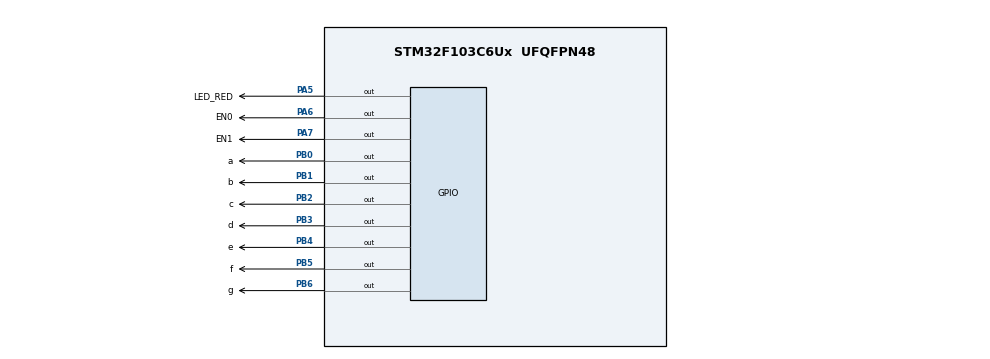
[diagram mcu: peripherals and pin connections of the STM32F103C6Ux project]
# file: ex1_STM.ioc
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Mcu.Family=STM32F1
Mcu.Name=STM32F103C6Ux
Mcu.Package=UFQFPN48
NVIC.PriorityGroup=NVIC_PRIORITYGROUP_4
NVIC.TIM2_IRQn=true\:0\:0\:false\:false\:true\:true\:true
PA5.GPIO_Label=LED_RED
PA5.Signal=GPIO_Output
PA6.GPIO_Label=EN0
PA6.Signal=GPIO_Output
PA7.GPIO_Label=EN1
PA7.Signal=GPIO_Output
PB0.GPIO_Label=a
PB0.Signal=GPIO_Output
PB1.GPIO_Label=b
PB1.Signal=GPIO_Output
PB2.GPIO_Label=c
PB2.Signal=GPIO_Output
PB3.GPIO_Label=d
PB3.Signal=GPIO_Output
PB4.GPIO_Label=e
PB4.Signal=GPIO_Output
PB5.GPIO_Label=f
PB5.Signal=GPIO_Output
PB6.GPIO_Label=g
PB6.Signal=GPIO_Output
ProjectManager.HeapSize=0x200
ProjectManager.StackSize=0x400
ProjectManager.TargetToolchain=STM32CubeIDE
RCC.APB1Freq_Value=8000000
RCC.APB2Freq_Value=8000000
TIM2.Period=9
TIM2.Prescaler=7999
VP_SYS_VS_ND.Mode=No_Debug
VP_TIM2_VS_ClockSourceINT.Mode=Internal
board=custom

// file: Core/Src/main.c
/* USER CODE BEGIN Header */
/**
  ******************************************************************************
  * @file           : main.c
  * @brief          : Main program body
  ******************************************************************************
  * @attention
  *
  * <h2><center>&copy; Copyright (c) 2022 STMicroelectronics.
  * All rights reserved.</center></h2>
  *
  * This software component is licensed by ST under BSD 3-Clause license,
  * the "License"; You may not use this file except in compliance with the
  * License. You may obtain a copy of the License at:
  *                        opensource.org/licenses/BSD-3-Clause
  *
  ******************************************************************************
  */
/* USER CODE END Header */
#include "main.h"

TIM_HandleTypeDef htim2;

void SystemClock_Config(void);
static void MX_GPIO_Init(void);
static void MX_TIM2_Init(void);

/* USER CODE BEGIN 0 */
uint8_t segmentNumber[10] = {
        0x3f,  // 0
        0x06,  // 1
        0x5b,  // 2
        0x4f,  // 3
        0x66,  // 4
        0x6d,  // 5
        0x7d,  // 6
        0x07,  // 7
        0x7f,  // 8
        0x67   // 9
};

void display7SEG(uint8_t number){
	HAL_GPIO_WritePin(a_GPIO_Port, a_Pin, ((number>>0)&0x01)^0x01);
	HAL_GPIO_WritePin(b_GPIO_Port, b_Pin, ((number>>1)&0x01)^0x01);
	HAL_GPIO_WritePin(c_GPIO_Port, c_Pin, ((number>>2)&0x01)^0x01);
	HAL_GPIO_WritePin(d_GPIO_Port, d_Pin, ((number>>3)&0x01)^0x01);
	HAL_GPIO_WritePin(e_GPIO_Port, e_Pin, ((number>>4)&0x01)^0x01);
	HAL_GPIO_WritePin(f_GPIO_Port, f_Pin, ((number>>5)&0x01)^0x01);
	HAL_GPIO_WritePin(g_GPIO_Port, g_Pin, ((number>>6)&0x01)^0x01);
}
/* USER CODE END 0 */

int main(void)
{

  /* MCU Configuration--------------------------------------------------------*/

  /* Reset of all peripherals, Initializes the Flash interface and the Systick. */
  HAL_Init();

  /* Configure the system clock */
  SystemClock_Config();

  /* Initialize all configured peripherals */
  MX_GPIO_Init();
  MX_TIM2_Init();
  /* USER CODE BEGIN 2 */
  HAL_TIM_Base_Start_IT(&htim2);
  HAL_GPIO_WritePin(EN1_GPIO_Port, EN1_Pin, SET);
  HAL_GPIO_WritePin(EN0_GPIO_Port, EN0_Pin, RESET);
  /* USER CODE END 2 */

  /* Infinite loop */
  while (1)
  {

  }
}

void SystemClock_Config(void)
{
  RCC_OscInitTypeDef RCC_OscInitStruct = {0};
  RCC_ClkInitTypeDef RCC_ClkInitStruct = {0};

  /** Initializes the RCC Oscillators according to the specified parameters
  * in the RCC_OscInitTypeDef structure.
  */
  RCC_OscInitStruct.OscillatorType = RCC_OSCILLATORTYPE_HSI;
  RCC_OscInitStruct.HSIState = RCC_HSI_ON;
  RCC_OscInitStruct.HSICalibrationValue = RCC_HSICALIBRATION_DEFAULT;
  RCC_OscInitStruct.PLL.PLLState = RCC_PLL_NONE;
  if (HAL_RCC_OscConfig(&RCC_OscInitStruct) != HAL_OK)
  {
    Error_Handler();
  }
  /** Initializes the CPU, AHB and APB buses clocks
  */
  RCC_ClkInitStruct.ClockType = RCC_CLOCKTYPE_HCLK|RCC_CLOCKTYPE_SYSCLK
                              |RCC_CLOCKTYPE_PCLK1|RCC_CLOCKTYPE_PCLK2;
  RCC_ClkInitStruct.SYSCLKSource = RCC_SYSCLKSOURCE_HSI;
  RCC_ClkInitStruct.AHBCLKDivider = RCC_SYSCLK_DIV1;
  RCC_ClkInitStruct.APB1CLKDivider = RCC_HCLK_DIV1;
  RCC_ClkInitStruct.APB2CLKDivider = RCC_HCLK_DIV1;

  if (HAL_RCC_ClockConfig(&RCC_ClkInitStruct, FLASH_LATENCY_0) != HAL_OK)
  {
    Error_Handler();
  }
}

static void MX_TIM2_Init(void)
{

  TIM_ClockConfigTypeDef sClockSourceConfig = {0};
  TIM_MasterConfigTypeDef sMasterConfig = {0};

  htim2.Instance = TIM2;
  htim2.Init.Prescaler = 7999;
  htim2.Init.CounterMode = TIM_COUNTERMODE_UP;
  htim2.Init.Period = 9;
  htim2.Init.ClockDivision = TIM_CLOCKDIVISION_DIV1;
  htim2.Init.AutoReloadPreload = TIM_AUTORELOAD_PRELOAD_DISABLE;
  if (HAL_TIM_Base_Init(&htim2) != HAL_OK)
  {
    Error_Handler();
  }
  sClockSourceConfig.ClockSource = TIM_CLOCKSOURCE_INTERNAL;
  if (HAL_TIM_ConfigClockSource(&htim2, &sClockSourceConfig) != HAL_OK)
  {
    Error_Handler();
  }
  sMasterConfig.MasterOutputTrigger = TIM_TRGO_RESET;
  sMasterConfig.MasterSlaveMode = TIM_MASTERSLAVEMODE_DISABLE;
  if (HAL_TIMEx_MasterConfigSynchronization(&htim2, &sMasterConfig) != HAL_OK)
  {
    Error_Handler();
  }

}

static void MX_GPIO_Init(void)
{
  GPIO_InitTypeDef GPIO_InitStruct = {0};

  /* GPIO Ports Clock Enable */
  __HAL_RCC_GPIOA_CLK_ENABLE();
  __HAL_RCC_GPIOB_CLK_ENABLE();

  /*Configure GPIO pin Output Level */
  HAL_GPIO_WritePin(GPIOA, LED_RED_Pin|EN0_Pin|EN1_Pin, GPIO_PIN_RESET);

  /*Configure GPIO pin Output Level */
  HAL_GPIO_WritePin(GPIOB, a_Pin|b_Pin|c_Pin|d_Pin
                          |e_Pin|f_Pin|g_Pin, GPIO_PIN_RESET);

  /*Configure GPIO pins : LED_RED_Pin EN0_Pin EN1_Pin */
  GPIO_InitStruct.Pin = LED_RED_Pin|EN0_Pin|EN1_Pin;
  GPIO_InitStruct.Mode = GPIO_MODE_OUTPUT_PP;
  GPIO_InitStruct.Pull = GPIO_NOPULL;
  GPIO_InitStruct.Speed = GPIO_SPEED_FREQ_LOW;
  HAL_GPIO_Init(GPIOA, &GPIO_InitStruct);

  /*Configure GPIO pins : a_Pin b_Pin c_Pin d_Pin
                           e_Pin f_Pin g_Pin */
  GPIO_InitStruct.Pin = a_Pin|b_Pin|c_Pin|d_Pin
                          |e_Pin|f_Pin|g_Pin;
  GPIO_InitStruct.Mode = GPIO_MODE_OUTPUT_PP;
  GPIO_InitStruct.Pull = GPIO_NOPULL;
  GPIO_InitStruct.Speed = GPIO_SPEED_FREQ_LOW;
  HAL_GPIO_Init(GPIOB, &GPIO_InitStruct);

}

/* USER CODE BEGIN 4 */
int counter = 50;
int led_red_counter = 100;
void HAL_TIM_PeriodElapsedCallback ( TIM_HandleTypeDef * htim ){
	counter--;
	led_red_counter--;
	if(counter <= 0){
		counter = 50;
		HAL_GPIO_TogglePin(EN0_GPIO_Port, EN0_Pin);
		HAL_GPIO_TogglePin(EN1_GPIO_Port, EN1_Pin);
	}
	if(led_red_counter <= 0) {
		led_red_counter = 100;
		HAL_GPIO_TogglePin(LED_RED_GPIO_Port, LED_RED_Pin);
	}
	if(HAL_GPIO_ReadPin(EN0_GPIO_Port, EN0_Pin)){
		display7SEG(segmentNumber[2]);
	}
	if(HAL_GPIO_ReadPin(EN1_GPIO_Port, EN1_Pin)){
		display7SEG(segmentNumber[1]);
	}
}
/* USER CODE END 4 */

void Error_Handler(void)
{
  __disable_irq();
  while (1)
  {
  }
}

/************************ (C) COPYRIGHT STMicroelectronics *****END OF FILE****/
